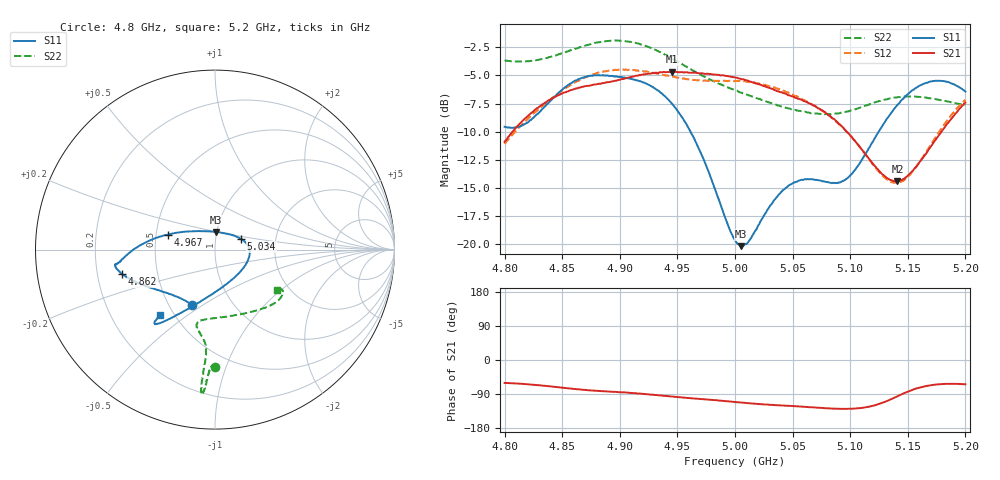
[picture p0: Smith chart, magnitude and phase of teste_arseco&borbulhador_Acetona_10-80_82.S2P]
! Network Analyzer HP8722D
! Hewlett-Packard
! Data name: Linha & Wilkinson
! Saver's name: Rodrigo Anjos
! Comments: Teste da utilização de aquisição
! continua pelo VNA HP8722D
! Time and date: 17/4/2025 15:02
!  Frequency  S11  S21  S12  S22
# HZ  S  MA R 50
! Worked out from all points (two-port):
!   401 points, 4.8 GHz to 5.2 GHz, reference 50 ohm
!   highest |S21| = -4.67 dB at 4.945 GHz (marker M1); lowest = -14.4 dB at 5.141 GHz (marker M2)
!   |S21| within 3 dB of the highest: 4.832 GHz to 5.068 GHz (236.4 MHz wide, 4.78 % of centre); 5.197543 GHz to end of sweep
!   lowest |S11| = -20.2 dB at 5.005 GHz (marker M3), VSWR 1.22, Z = 49.6 + j9.8 ohm
!   |S11| at or under -10 dB: 4.961 GHz to 5.125 GHz (163.4 MHz wide, 3.24 % of centre)
!   |S22| runs from -8.5 to -1.9 dB; largest |S21 - S12| = 0.88
!   S11 on the Smith chart (normalised r, x): 4.8 GHz: 0.65, -0.45; 4.862 GHz: 0.31, -0.12; 4.967 GHz: 0.57, +0.10; 5.034 GHz: 1.33, +0.16; 5.2 GHz: 0.42, -0.40
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4.8e9  0.3327 -113.0  0.2849 -60.6  0.2796 -174.9  0.6556 -89.9
4.819e9  0.3459 -132.9  0.367 -63.8  0.3555 -173.3  0.6509 -91.4
4.862e9  0.5344 -165.3  0.4929 -76.7  0.5264 -176.5  0.7411 -93.7
4.867e9  0.5477 -167.2  0.5001 -78.4  0.5424 -177.5  0.7555 -93.9
4.898e9  0.5547 -171.8  0.5356 -84.5  0.5948 176.0  0.8047 -95.0
4.934e9  0.4794 -177.7  0.5796 -93.3  0.5724 172.0  0.7181 -95.7
4.945e9  0.4233 177.1  0.5844 -96.4  0.5561 172.1  0.6705 -95.4
4.967e9  0.2776 162.4  0.5766 -102.0  0.5351 174.0  0.5772 -95.0
5e9  0.1042 104.0  0.5504 -110.9  0.5328 176.5  0.4834 -99.1
5.005e9  0.09798 86.5  0.5429 -112.3  0.5301 176.2  0.4712 -100.2
5.012e9  0.1031 63.4  0.5314 -114.1  0.5264 176.1  0.4586 -101.8
5.034e9  0.1571 22.4  0.4855 -118.9  0.4974 175.0  0.4199 -103.6
5.049e9  0.1848 6.9  0.4548 -121.2  0.4656 174.4  0.3981 -100.0
5.067e9  0.1946 -12.2  0.416 -124.7  0.4182 173.6  0.3831 -90.9
5.087e9  0.1869 -44.1  0.3559 -128.4  0.3538 173.6  0.3806 -75.8
5.097e9  0.1953 -64.8  0.3161 -129.0  0.3161 174.8  0.3885 -67.4
5.134e9  0.3734 -115.7  0.1941 -105.5  0.1907 -158.3  0.4441 -42.9
5.141e9  0.416 -119.7  0.1902 -95.7  0.1872 -147.4  0.4501 -39.8
5.153e9  0.4791 -124.6  0.2086 -79.8  0.2069 -128.9  0.4537 -35.6
5.17e9  0.5288 -128.3  0.2715 -66.6  0.2776 -112.7  0.445 -31.9
5.184e9  0.527 -129.6  0.3424 -63.0  0.3541 -107.0  0.4315 -30.8
5.2e9  0.4768 -130.1  0.4258 -64.0  0.4392 -106.1  0.4149 -33.2
